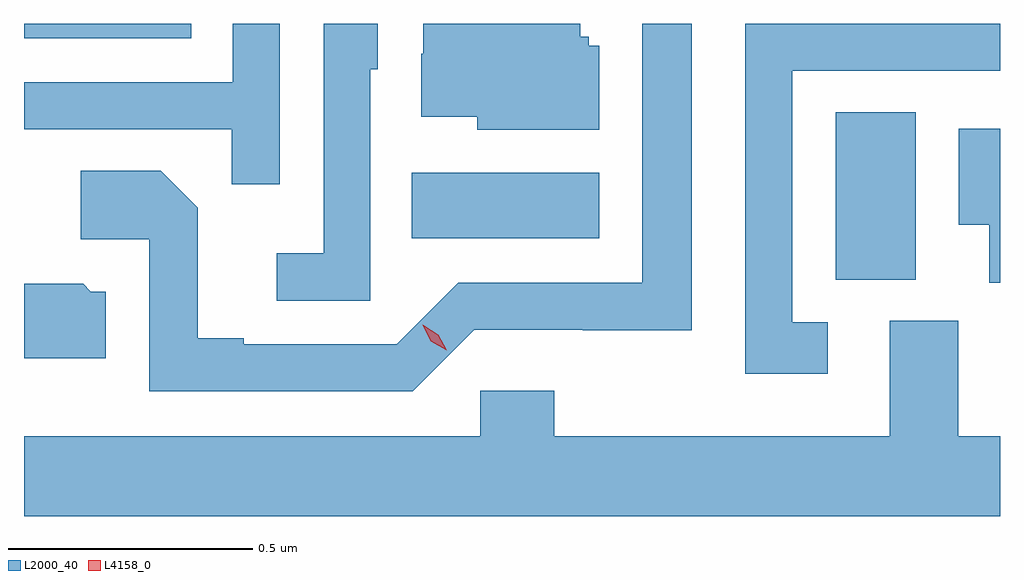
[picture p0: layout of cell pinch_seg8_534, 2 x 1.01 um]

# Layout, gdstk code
import gdstk
lib = gdstk.Library(unit=1e-6, precision=1e-09)
def R(c, l, rs):  # rectangles x0, y0, x1, y1
    for r in rs: c.add(gdstk.rectangle(r[:2], r[2:], *l))
def P(c, l, *ps):  # polygons
    for p in ps: c.add(gdstk.Polygon(p, *l))
L2000_40 = (2000, 40)
L4158_0 = (4158, 0)

pinch_seg8_534 = lib.new_cell('pinch_seg8_534')
R(pinch_seg8_534, L2000_40, [(127.136,1118.317,127.3,1118.66), (126.268,1118.402,126.652,1118.536), (125.473,1118.811,125.816,1118.841)])
P(pinch_seg8_534, L2000_40, [(127.12,1118.229),(127.047,1118.229),(127.047,1118.745),(127.473,1118.745),(127.473,1118.841),(126.951,1118.841),(126.951,1118.124),(127.12,1118.124)],
  [(126.183,1118.748),(126.198,1118.748),(126.198,1118.841),(126.087,1118.841),(126.087,1118.371),(125.991,1118.371),(125.991,1118.274),(126.183,1118.274)],
  [(126.396,1118.214),(126.618,1118.214),(126.618,1118.213),(126.841,1118.213),(126.841,1118.841),(126.74,1118.841),(126.74,1118.31),(126.363,1118.31),(126.237,1118.184),(125.923,1118.184),(125.923,1118.197),(125.829,1118.197),(125.829,1118.464),(125.753,1118.54),(125.589,1118.54),(125.589,1118.4),(125.73,1118.4),(125.73,1118.088),(126.27,1118.088)],
  [(125.997,1118.841),(125.901,1118.841),(125.901,1118.721),(125.473,1118.721),(125.473,1118.625),(125.899,1118.625),(125.899,1118.512),(125.997,1118.512)],
  [(126.652,1118.796),(126.63,1118.796),(126.63,1118.814),(126.613,1118.814),(126.613,1118.841),(126.291,1118.841),(126.291,1118.78),(126.287,1118.78),(126.287,1118.651),(126.402,1118.651),(126.402,1118.624),(126.652,1118.624)],
  [(127.473,1118.626),(127.388,1118.626),(127.388,1118.429),(127.451,1118.429),(127.451,1118.31),(127.473,1118.31)],
  [(125.641,1118.292),(125.61,1118.292),(125.594,1118.308),(125.473,1118.308),(125.473,1118.156),(125.641,1118.156)],
  [(127.473,1117.996),(127.387,1117.996),(127.387,1118.232),(127.247,1118.232),(127.247,1117.996),(126.56,1117.996),(126.56,1118.089),(126.408,1118.089),(126.408,1117.996),(125.473,1117.996),(125.473,1117.832),(127.473,1117.832)])
P(pinch_seg8_534, L4158_0, [(126.339,1118.172),(126.307,1118.191),(126.29,1118.223),(126.29,1118.224),(126.29,1118.224),(126.322,1118.204),(126.339,1118.172),(126.339,1118.172)])

lib.write_gds('pinch_seg8_534.gds')
